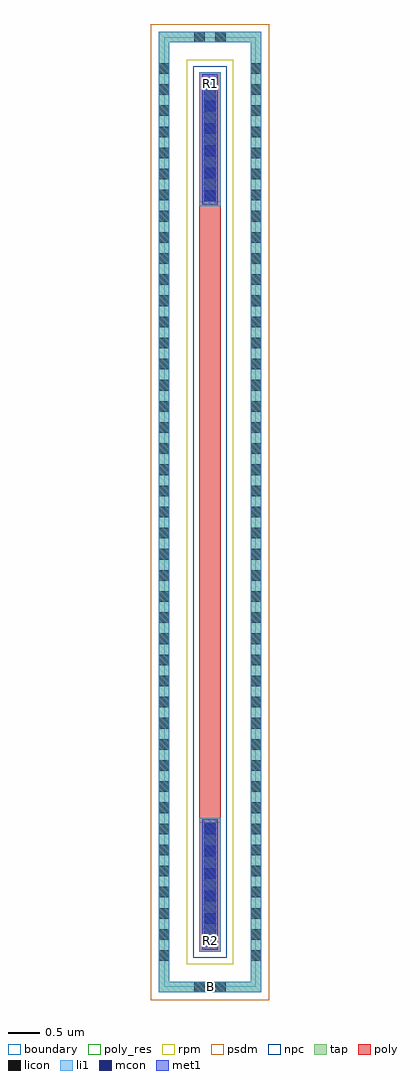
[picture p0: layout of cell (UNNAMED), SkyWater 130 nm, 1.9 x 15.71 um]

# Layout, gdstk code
import gdstk
lib = gdstk.Library(unit=1e-6, precision=1e-09)
def R(c, l, rs):  # rectangles x0, y0, x1, y1
    for r in rs: c.add(gdstk.rectangle(r[:2], r[2:], *l))
def A(c, l, x, y, w, h, nx, ny, dx, dy):  # array of equal rectangles
    R(c, l, [(x+i*dx, y+j*dy, x+i*dx+w, y+j*dy+h) for i in range(nx) for j in range(ny)])
tap = (65, 44)
poly_res = (66, 13)
poly = (66, 20)
licon = (66, 44)
li1 = (67, 20)
mcon = (67, 44)
met1 = (68, 20)
rpm = (86, 20)
psdm = (94, 20)
npc = (95, 20)
boundary = (235, 4)

c__unnamed_ = lib.new_cell('(UNNAMED)')
R(c__unnamed_, tap, [(-0.825,-7.73,0.825,-7.56), (-0.825,-7.56,-0.655,7.56), (0.655,-7.56,0.825,7.56), (-0.825,7.56,0.825,7.73)])
R(c__unnamed_, poly_res, [(-0.175,-5,0.175,5)])
R(c__unnamed_, poly, [(-0.175,-7.08,0.175,7.08)])
A(c__unnamed_, licon, -0.825, -7.225, 0.17, 0.17, 1, 43, 0, 0.34)
A(c__unnamed_, licon, 0.655, -7.225, 0.17, 0.17, 1, 43, 0, 0.34)
R(c__unnamed_, licon, [(-0.255,-7.73,-0.085,-7.56), (0.085,-7.73,0.255,-7.56), (-0.095,-7,0.095,-5), (-0.095,5,0.095,7), (-0.255,7.56,-0.085,7.73), (0.085,7.56,0.255,7.73)])
R(c__unnamed_, li1, [(-0.825,-7.73,0.825,-7.56), (-0.825,-7.56,-0.655,7.56), (0.655,-7.56,0.825,7.56), (-0.175,-7.08,0.175,-4.92), (-0.175,4.92,0.175,7.08), (-0.825,7.56,0.825,7.73)])
A(c__unnamed_, mcon, -0.085, -6.985, 0.17, 0.17, 1, 6, 0, 0.36)
A(c__unnamed_, mcon, -0.085, 5.01, 0.17, 0.17, 1, 6, 0, 0.36)
R(c__unnamed_, met1, [(-0.125,-7.05,0.125,-4.945), (-0.125,4.945,0.125,7.05)])
R(c__unnamed_, rpm, [(-0.375,-7.28,0.375,7.28)])
R(c__unnamed_, psdm, [(-0.95,-7.855,0.95,7.855)])
R(c__unnamed_, npc, [(-0.27,-7.175,0.27,7.175)])
R(c__unnamed_, boundary, [(-0.74,-7.645,0.74,7.645)])
c__unnamed_.add(gdstk.Label('B', (0,-7.645), layer=67, texttype=5))
c__unnamed_.add(gdstk.Label('R1', (0,6.905), layer=67, texttype=5))
c__unnamed_.add(gdstk.Label('R2', (0,-6.905), layer=67, texttype=5))

lib.write_gds('_UNNAMED_.gds')
